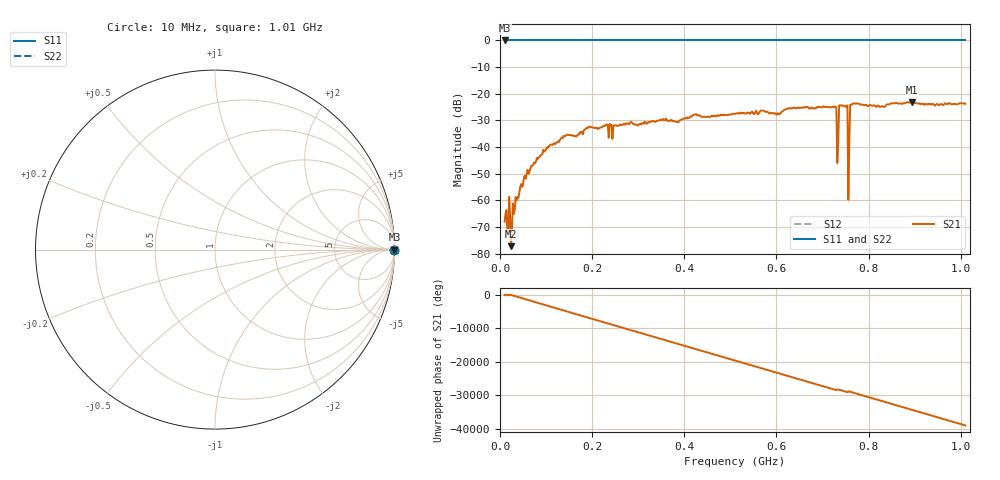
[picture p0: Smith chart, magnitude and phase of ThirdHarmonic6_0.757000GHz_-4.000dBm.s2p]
! 8/16/2025 1:18:02 AM
! C:\ANRITSUVNA\TEMP\TEMP.S2P
! CHANNEL.1
! TR.MEASUREMENT
! RAW.DATA
! RF.CORRECTION.OFF
! AVERAGING.OFF
! IF.BANDWIDTH: 5KHZ
! SWEEPTYPE:  FREQ.SWEEP(Linear)
! Reference Plane Port Info
! PORT:  PORT1  PORT2
! DISTANCE:  0  m  0  m
! TIME:  0  s  0  s
! PHASE.OFFSET:  0  deg.  0  deg.
! LOSS:  0  dB  0  dB
! REF.LOSS:  0  dB  0  dB
! REF.FREQ:  0  Hz  0  Hz
! Power Info
! POWER:  -20  dBm  -20  dBm
! EFF.POWER:  -20  dBm  -20  dBm
! SOURCE.ATTEN:  0  dB  0  dB
! TEST.ATTEN:  0  dB  0  dB
# GHZ S RI R 50.0
! FREQ.GHZ  S11RE  S11IM  S21RE  S21IM  S12RE  S12IM  S22RE  S22IM
!; PortSelection: Port_12
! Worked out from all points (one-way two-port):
!   501 points, 10 MHz to 1.01 GHz, reference 50 ohm
!   highest |S21| = -23.14 dB at 894 MHz (marker M1); lowest = -77.2 dB at 24 MHz (marker M2)
!   lowest |S11| = 0.0 dB at 10 MHz (marker M3)
!   |S11| at or under -10 dB: nowhere
!   |S22| runs from 0.0 to 0.0 dB; largest |S21 - S12| = 1.1
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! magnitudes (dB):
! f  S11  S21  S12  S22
! 10 MHz  0.0  -68.0  0.0  0.0
! 20 MHz  0.0  -58.7  0.0  0.0
! 24 MHz  0.0  -77.2  0.0  0.0
! 28 MHz  0.0  -61.1  0.0  0.0
! 32 MHz  0.0  -63.7  0.0  0.0
! 56 MHz  0.0  -51.9  0.0  0.0
! 84 MHz  0.0  -43.9  0.0  0.0
! 178 MHz  0.0  -34.3  0.0  0.0
! 344 MHz  0.0  -30.1  0.0  0.0
! 510 MHz  0.0  -27.6  0.0  0.0
! 678 MHz  0.0  -25.5  0.0  0.0
! 726 MHz  0.0  -25.0  0.0  0.0
! 730 MHz  0.0  -25.4  0.0  0.0
! 736 MHz  0.0  -24.3  0.0  0.0
! 740 MHz  0.0  -24.3  0.0  0.0
! 750 MHz  0.0  -24.9  0.0  0.0
! 754 MHz  0.0  -24.3  0.0  0.0
! 760 MHz  0.0  -24.2  0.0  0.0
! 764 MHz  0.0  -23.9  0.0  0.0
! 844 MHz  0.0  -24.0  0.0  0.0
! 894 MHz  0.0  -23.1  0.0  0.0
! 1.01 GHz  0.0  -23.8  0.0  0.0
